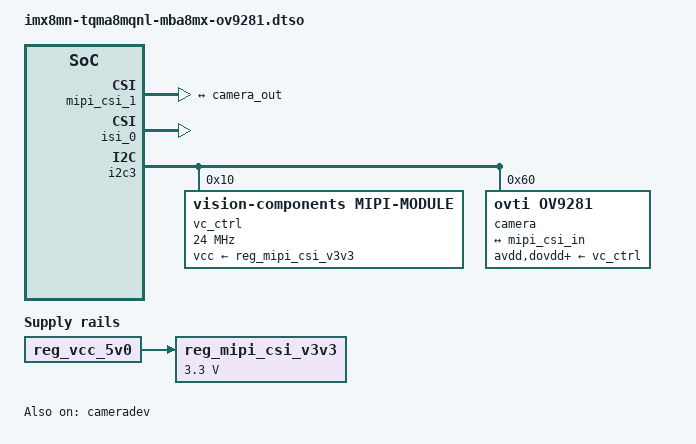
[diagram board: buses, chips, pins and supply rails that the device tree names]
// SPDX-License-Identifier: (GPL-2.0-or-later OR MIT)
/*
 * Copyright (c) 2021-2024 TQ-Systems GmbH <linux@ew.tq-group.com>,
 * D-82229 Seefeld, Germany.
 * Author: Alexander Stein
 */

/dts-v1/;
/plugin/;

&{/} {
	/* This voltage converter is located on the adapter board MBaxCA */
	reg_mipi_csi_v3v3: regulator-mipi-csi-v3v3 {
		compatible = "regulator-fixed";
		regulator-name = "MIPI_CSI_V_3V3";
		regulator-min-microvolt = <3300000>;
		regulator-max-microvolt = <3300000>;
		vin-supply = <&reg_vcc_5v0>;
	};
};

&cameradev {
	status = "okay";
};

&mipi_csi_1 {
	status = "okay";

	port {
		mipi_csi_in: endpoint {
			remote-endpoint = <&camera_out>;
			data-lanes = <2>;
			csis-hs-settle = <13>;
			csis-clk-settle = <2>;
			csis-wclk;
		};
	};
};

&isi_0 {
	status = "okay";

	cap_device {
		status = "okay";
	};
};

&i2c3 {
	#address-cells = <1>;
	#size-cells = <0>;

	vc_ctrl: controller@10 {
		compatible = "vision-components,mipi-module";
		reg = <0x10>;
		#clock-cells = <0>;
		vcc-supply = <&reg_mipi_csi_v3v3>;
		clock-frequency = <24000000>;
	};

	camera@60 {
		compatible = "ovti,ov9281";
		reg = <0x60>;
		clocks = <&vc_ctrl>;

		avdd-supply = <&vc_ctrl>;
		dovdd-supply = <&vc_ctrl>;
		dvdd-supply = <&vc_ctrl>;

		port {
			camera_out: endpoint {
				remote-endpoint = <&mipi_csi_in>;
				data-lanes = <1 2>;
				clock-lanes = <0>;
				clock-noncontinuous = <1>;
				link-frequencies = /bits/ 64 <400000000>;
			};
		};
	};
};
